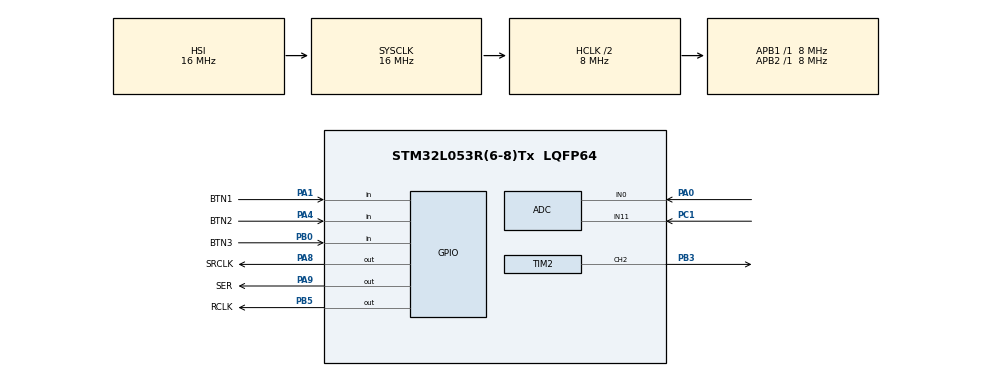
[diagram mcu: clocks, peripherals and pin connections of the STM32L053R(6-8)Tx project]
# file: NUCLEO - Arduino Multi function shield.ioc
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ADC.ContinuousConvMode=ENABLE
ADC.DMAContinuousRequests=DISABLE
ADC.SamplingTime=ADC_SAMPLETIME_160CYCLES_5
Mcu.Family=STM32L0
Mcu.Name=STM32L053R(6-8)Tx
Mcu.Package=LQFP64
NVIC.ADC1_COMP_IRQn=true\:0\:0\:false\:false\:true\:true\:true\:true
PA0.Mode=IN0
PA0.Signal=ADC_IN0
PA1.GPIO_Label=BTN1
PA1.GPIO_PuPd=GPIO_PULLUP
PA1.Signal=GPIO_Input
PA4.GPIO_Label=BTN2
PA4.GPIO_PuPd=GPIO_PULLUP
PA4.Signal=GPIO_Input
PA8.GPIO_Label=SRCLK
PA8.Signal=GPIO_Output
PA9.GPIO_Label=SER
PA9.Signal=GPIO_Output
PB0.GPIO_Label=BTN3
PB0.GPIO_PuPd=GPIO_PULLUP
PB0.Signal=GPIO_Input
PB3.Signal=S_TIM2_CH2
PB5.GPIO_Label=RCLK
PB5.Signal=GPIO_Output
PC1.Mode=IN11
PC1.Signal=ADC_IN11
ProjectManager.HeapSize=0x200
ProjectManager.StackSize=0x400
ProjectManager.TargetToolchain=STM32CubeIDE
RCC.AHBCLKDivider=RCC_SYSCLK_DIV2
RCC.AHBFreq_Value=8000000
RCC.APB1Freq_Value=8000000
RCC.APB1TimFreq_Value=8000000
RCC.APB2Freq_Value=8000000
RCC.APB2TimFreq_Value=8000000
RCC.HCLKFreq_Value=8000000
RCC.HSE_VALUE=8000000
RCC.HSI16_VALUE=16000000
RCC.HSI48_VALUE=48000000
RCC.HSI_VALUE=16000000
RCC.MSI_VALUE=2097000
RCC.SYSCLKFreq_VALUE=16000000
RCC.SYSCLKSource=RCC_SYSCLKSOURCE_HSI
RCC.VCOOutputFreq_Value=48000000
SH.S_TIM2_CH2.0=TIM2_CH2,PWM Generation2 CH2
TIM2.Channel-PWM\ Generation2\ CH2=TIM_CHANNEL_2
TIM2.Period=500-1
TIM2.Prescaler=8-1
VP_TIM2_VS_ClockSourceINT.Mode=Internal
board=NUCLEO-L053R8

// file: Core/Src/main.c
/* USER CODE BEGIN Header */
/**
  ******************************************************************************
  * @file           : main.c
  * @brief          : Main program body
  ******************************************************************************
  * @attention
  *
  * Copyright (c) 2025 STMicroelectronics.
  * All rights reserved.
  *
  * This software is licensed under terms that can be found in the LICENSE file
  * in the root directory of this software component.
  * If no LICENSE file comes with this software, it is provided AS-IS.
  *
  ******************************************************************************
  */
/* USER CODE END Header */
#include "main.h"

/* USER CODE BEGIN Includes */
#include <math.h>
/* USER CODE END Includes */

/* USER CODE BEGIN PD */
#define CLOCK 1000000
#define BIT_RESOLUTION_12 4095
/* USER CODE END PD */

ADC_HandleTypeDef hadc;

TIM_HandleTypeDef htim2;

/* USER CODE BEGIN PV */
int B1, B2, B3;
uint16_t tempRAW;
uint16_t pot;
float temp;
uint8_t graus_uni, graus_deca, graus_cent;
uint8_t adc_deca, adc_uni, adc_mil, adc_cent;

uint8_t numberMap[11] = { 0b00000011, // 0
						  0b10011111, // 1
						  0b00100101, // 2
						  0b00001101, // 3
						  0b10011001, // 4
						  0b01001001, // 5
						  0b01000001, // 6
						  0b00011111, // 7
						  0b00000001, // 8
						  0b00001001, // 9
						  0b01100011}; // C
uint32_t tim, new_tim;
int8_t tela = 0;
/* USER CODE END PV */

void SystemClock_Config(void);
static void MX_GPIO_Init(void);
static void MX_TIM2_Init(void);
static void MX_ADC_Init(void);
/* USER CODE BEGIN PFP */
void AMFS_ControlNote(uint8_t duration){
	HAL_TIM_PWM_Start(&htim2, TIM_CHANNEL_2);
	HAL_Delay(duration);
	HAL_TIM_PWM_Stop(&htim2, TIM_CHANNEL_2);
}

int AMFS_KeyboardCheck(GPIO_TypeDef *GPIOx, uint16_t GPIO_Pin){
	uint8_t pressed = HAL_GPIO_ReadPin(GPIOx, GPIO_Pin);
	uint8_t press = 0;

	tim = HAL_GetTick();

	if (!pressed){
		if ((tim - new_tim) > 20){
			press = 1;
		}
	}

	new_tim = tim;

	return press;
}

void AMFS_SendData(uint8_t num, uint8_t disp){
	uint16_t number = (disp << 8) + num;

	for(int i = 0; i < 16; ++i){
		HAL_GPIO_WritePin(SER_GPIO_Port, SER_Pin, (number >> i) & 1);

		HAL_GPIO_WritePin(SRCLK_GPIO_Port, SRCLK_Pin, GPIO_PIN_SET);
		HAL_GPIO_WritePin(SRCLK_GPIO_Port, SRCLK_Pin, GPIO_PIN_RESET);
	}

	HAL_GPIO_TogglePin(RCLK_GPIO_Port, RCLK_Pin);
	HAL_GPIO_TogglePin(RCLK_GPIO_Port, RCLK_Pin);
}

/* USER CODE END PFP */

int main(void)
{

  /* MCU Configuration--------------------------------------------------------*/

  /* Reset of all peripherals, Initializes the Flash interface and the Systick. */
  HAL_Init();

  /* Configure the system clock */
  SystemClock_Config();

  /* Initialize all configured peripherals */
  MX_GPIO_Init();
  MX_TIM2_Init();
  MX_ADC_Init();

  /* Infinite loop */
  /* USER CODE BEGIN WHILE */
  while (1) {
	  switch(tela){
	  	  case 0:
	  		  AMFS_SendData(numberMap[0],  0x80);
	  		  AMFS_SendData(numberMap[10], 0x40);
	  		  AMFS_SendData(numberMap[2],  0x20);
	  		  AMFS_SendData(numberMap[5],  0x10);
	  		  break;
	  	  case 1:
	  		  AMFS_SendData(numberMap[graus_deca], 0x80);
	  		  AMFS_SendData(numberMap[graus_uni], 0x40);
	  		  AMFS_SendData(numberMap[10], 0x10);
	  		  break;

	  	  case 2:
	  		  AMFS_SendData(numberMap[adc_mil], 0x80);
	  		  AMFS_SendData(numberMap[adc_cent], 0x40);
	  		  AMFS_SendData(numberMap[adc_deca], 0x20);
	  		  AMFS_SendData(numberMap[adc_uni], 0x10);
	  		  break;
	  }
	  // READ ADC VALUES
	  HAL_ADC_Start(&hadc);

	  for(int i = 0; i < 2; ++i){
		  HAL_ADC_PollForConversion(&hadc, 10);
		  if(i == 1) tempRAW = HAL_ADC_GetValue(&hadc);
		  else pot = HAL_ADC_GetValue(&hadc);

	  }

	  HAL_ADC_Stop(&hadc);
	  // CONVERT TEMP VALUE
	  temp = (float)(tempRAW * 3.3 / BIT_RESOLUTION_12) / 0.01;
	  // CONVERT TO SEND
      graus_deca = (uint8_t) temp / 10;
	  graus_uni  =  (uint8_t) temp % 10;

	  adc_mil = pot / 1000;
	  adc_cent = (pot % 1000) / 100;
	  adc_deca = (pot % 1000) / 10;
	  adc_uni = pot % 10;

	  B1 = HAL_GPIO_ReadPin(BTN1_GPIO_Port, BTN1_Pin);
	  B2 = HAL_GPIO_ReadPin(BTN2_GPIO_Port, BTN2_Pin);
	  B3 = HAL_GPIO_ReadPin(BTN3_GPIO_Port, BTN3_Pin);

	  if(B1 == GPIO_PIN_RESET){
		  while(!HAL_GPIO_ReadPin(BTN2_GPIO_Port, BTN2_Pin));
		  tela--;
	  }

	  if(B2 == GPIO_PIN_RESET) {
		  while(!HAL_GPIO_ReadPin(BTN2_GPIO_Port, BTN2_Pin));
		  tela++;
	  }

	  if(B3 == GPIO_PIN_RESET)  AMFS_ControlNote(1);

	  if(tela < 0) tela = 2;
	  if(tela >  2) tela = 0;

    /* USER CODE END WHILE */

  }
}

void SystemClock_Config(void)
{
  RCC_OscInitTypeDef RCC_OscInitStruct = {0};
  RCC_ClkInitTypeDef RCC_ClkInitStruct = {0};

  /** Configure the main internal regulator output voltage
  */
  __HAL_PWR_VOLTAGESCALING_CONFIG(PWR_REGULATOR_VOLTAGE_SCALE1);

  /** Initializes the RCC Oscillators according to the specified parameters
  * in the RCC_OscInitTypeDef structure.
  */
  RCC_OscInitStruct.OscillatorType = RCC_OSCILLATORTYPE_HSI;
  RCC_OscInitStruct.HSIState = RCC_HSI_ON;
  RCC_OscInitStruct.HSICalibrationValue = RCC_HSICALIBRATION_DEFAULT;
  RCC_OscInitStruct.PLL.PLLState = RCC_PLL_NONE;
  if (HAL_RCC_OscConfig(&RCC_OscInitStruct) != HAL_OK)
  {
    Error_Handler();
  }

  /** Initializes the CPU, AHB and APB buses clocks
  */
  RCC_ClkInitStruct.ClockType = RCC_CLOCKTYPE_HCLK|RCC_CLOCKTYPE_SYSCLK
                              |RCC_CLOCKTYPE_PCLK1|RCC_CLOCKTYPE_PCLK2;
  RCC_ClkInitStruct.SYSCLKSource = RCC_SYSCLKSOURCE_HSI;
  RCC_ClkInitStruct.AHBCLKDivider = RCC_SYSCLK_DIV2;
  RCC_ClkInitStruct.APB1CLKDivider = RCC_HCLK_DIV1;
  RCC_ClkInitStruct.APB2CLKDivider = RCC_HCLK_DIV1;

  if (HAL_RCC_ClockConfig(&RCC_ClkInitStruct, FLASH_LATENCY_0) != HAL_OK)
  {
    Error_Handler();
  }
}

static void MX_ADC_Init(void)
{

  ADC_ChannelConfTypeDef sConfig = {0};

  /** Configure the global features of the ADC (Clock, Resolution, Data Alignment and number of conversion)
  */
  hadc.Instance = ADC1;
  hadc.Init.OversamplingMode = DISABLE;
  hadc.Init.ClockPrescaler = ADC_CLOCK_SYNC_PCLK_DIV2;
  hadc.Init.Resolution = ADC_RESOLUTION_12B;
  hadc.Init.SamplingTime = ADC_SAMPLETIME_160CYCLES_5;
  hadc.Init.ScanConvMode = ADC_SCAN_DIRECTION_FORWARD;
  hadc.Init.DataAlign = ADC_DATAALIGN_RIGHT;
  hadc.Init.ContinuousConvMode = ENABLE;
  hadc.Init.DiscontinuousConvMode = DISABLE;
  hadc.Init.ExternalTrigConvEdge = ADC_EXTERNALTRIGCONVEDGE_NONE;
  hadc.Init.ExternalTrigConv = ADC_SOFTWARE_START;
  hadc.Init.DMAContinuousRequests = DISABLE;
  hadc.Init.EOCSelection = ADC_EOC_SINGLE_CONV;
  hadc.Init.Overrun = ADC_OVR_DATA_PRESERVED;
  hadc.Init.LowPowerAutoWait = DISABLE;
  hadc.Init.LowPowerFrequencyMode = DISABLE;
  hadc.Init.LowPowerAutoPowerOff = DISABLE;
  if (HAL_ADC_Init(&hadc) != HAL_OK)
  {
    Error_Handler();
  }

  /** Configure for the selected ADC regular channel to be converted.
  */
  sConfig.Channel = ADC_CHANNEL_0;
  sConfig.Rank = ADC_RANK_CHANNEL_NUMBER;
  if (HAL_ADC_ConfigChannel(&hadc, &sConfig) != HAL_OK)
  {
    Error_Handler();
  }

  /** Configure for the selected ADC regular channel to be converted.
  */
  sConfig.Channel = ADC_CHANNEL_11;
  if (HAL_ADC_ConfigChannel(&hadc, &sConfig) != HAL_OK)
  {
    Error_Handler();
  }

}

static void MX_TIM2_Init(void)
{

  TIM_ClockConfigTypeDef sClockSourceConfig = {0};
  TIM_MasterConfigTypeDef sMasterConfig = {0};
  TIM_OC_InitTypeDef sConfigOC = {0};

  htim2.Instance = TIM2;
  htim2.Init.Prescaler = 8-1;
  htim2.Init.CounterMode = TIM_COUNTERMODE_UP;
  htim2.Init.Period = 500-1;
  htim2.Init.ClockDivision = TIM_CLOCKDIVISION_DIV1;
  htim2.Init.AutoReloadPreload = TIM_AUTORELOAD_PRELOAD_DISABLE;
  if (HAL_TIM_Base_Init(&htim2) != HAL_OK)
  {
    Error_Handler();
  }
  sClockSourceConfig.ClockSource = TIM_CLOCKSOURCE_INTERNAL;
  if (HAL_TIM_ConfigClockSource(&htim2, &sClockSourceConfig) != HAL_OK)
  {
    Error_Handler();
  }
  if (HAL_TIM_PWM_Init(&htim2) != HAL_OK)
  {
    Error_Handler();
  }
  sMasterConfig.MasterOutputTrigger = TIM_TRGO_RESET;
  sMasterConfig.MasterSlaveMode = TIM_MASTERSLAVEMODE_DISABLE;
  if (HAL_TIMEx_MasterConfigSynchronization(&htim2, &sMasterConfig) != HAL_OK)
  {
    Error_Handler();
  }
  sConfigOC.OCMode = TIM_OCMODE_PWM1;
  sConfigOC.Pulse = 0;
  sConfigOC.OCPolarity = TIM_OCPOLARITY_HIGH;
  sConfigOC.OCFastMode = TIM_OCFAST_DISABLE;
  if (HAL_TIM_PWM_ConfigChannel(&htim2, &sConfigOC, TIM_CHANNEL_2) != HAL_OK)
  {
    Error_Handler();
  }
  HAL_TIM_MspPostInit(&htim2);

}

static void MX_GPIO_Init(void)
{
  GPIO_InitTypeDef GPIO_InitStruct = {0};

  /* GPIO Ports Clock Enable */
  __HAL_RCC_GPIOC_CLK_ENABLE();
  __HAL_RCC_GPIOA_CLK_ENABLE();
  __HAL_RCC_GPIOB_CLK_ENABLE();

  /*Configure GPIO pin Output Level */
  HAL_GPIO_WritePin(GPIOA, SRCLK_Pin|SER_Pin, GPIO_PIN_RESET);

  /*Configure GPIO pin Output Level */
  HAL_GPIO_WritePin(RCLK_GPIO_Port, RCLK_Pin, GPIO_PIN_RESET);

  /*Configure GPIO pins : BTN1_Pin BTN2_Pin */
  GPIO_InitStruct.Pin = BTN1_Pin|BTN2_Pin;
  GPIO_InitStruct.Mode = GPIO_MODE_INPUT;
  GPIO_InitStruct.Pull = GPIO_PULLUP;
  HAL_GPIO_Init(GPIOA, &GPIO_InitStruct);

  /*Configure GPIO pin : BTN3_Pin */
  GPIO_InitStruct.Pin = BTN3_Pin;
  GPIO_InitStruct.Mode = GPIO_MODE_INPUT;
  GPIO_InitStruct.Pull = GPIO_PULLUP;
  HAL_GPIO_Init(BTN3_GPIO_Port, &GPIO_InitStruct);

  /*Configure GPIO pins : SRCLK_Pin SER_Pin */
  GPIO_InitStruct.Pin = SRCLK_Pin|SER_Pin;
  GPIO_InitStruct.Mode = GPIO_MODE_OUTPUT_PP;
  GPIO_InitStruct.Pull = GPIO_NOPULL;
  GPIO_InitStruct.Speed = GPIO_SPEED_FREQ_LOW;
  HAL_GPIO_Init(GPIOA, &GPIO_InitStruct);

  /*Configure GPIO pin : RCLK_Pin */
  GPIO_InitStruct.Pin = RCLK_Pin;
  GPIO_InitStruct.Mode = GPIO_MODE_OUTPUT_PP;
  GPIO_InitStruct.Pull = GPIO_NOPULL;
  GPIO_InitStruct.Speed = GPIO_SPEED_FREQ_LOW;
  HAL_GPIO_Init(RCLK_GPIO_Port, &GPIO_InitStruct);

}

void Error_Handler(void)
{
  __disable_irq();
  while (1)
  {
  }
}
